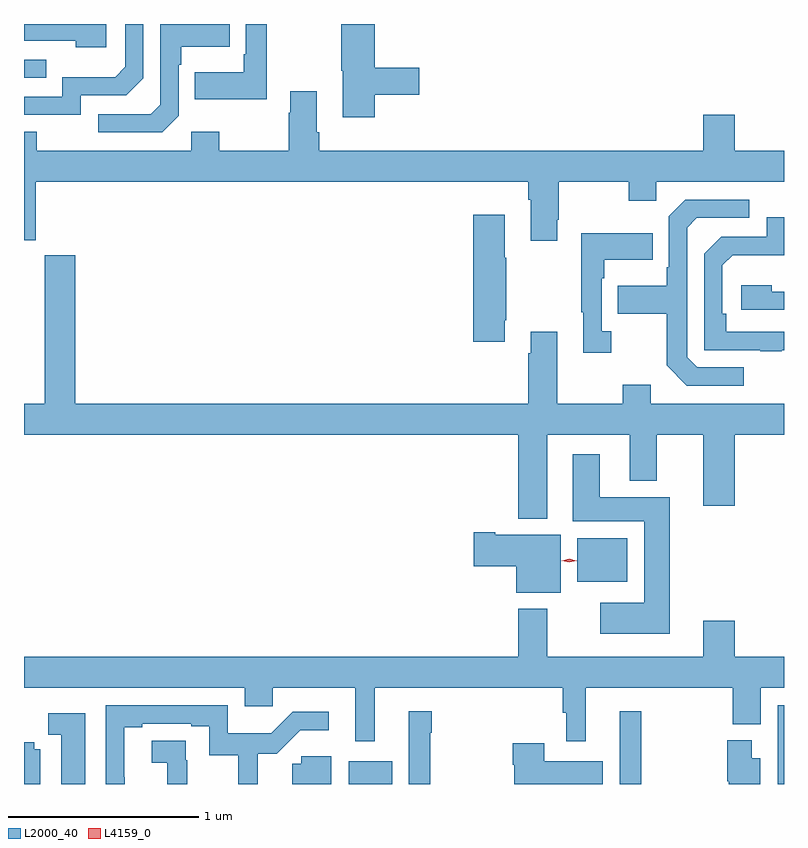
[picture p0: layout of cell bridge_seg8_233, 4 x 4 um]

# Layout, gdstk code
import gdstk
lib = gdstk.Library(unit=1e-6, precision=1e-09)
def R(c, l, rs):  # rectangles x0, y0, x1, y1
    for r in rs: c.add(gdstk.rectangle(r[:2], r[2:], *l))
def P(c, l, *ps):  # polygons
    for p in ps: c.add(gdstk.Polygon(p, *l))
L2000_40 = (2000, 40)
L4159_0 = (4159, 0)

bridge_seg8_233 = lib.new_cell('bridge_seg8_233')
R(bridge_seg8_233, L2000_40, [(199.106,1146.63,199.333,1146.751), (200.531,1146.63,200.645,1147.012), (201.363,1146.63,201.396,1147.044), (200.309,1147.694,200.572,1147.924), (197.396,1150.347,197.513,1150.443)])
P(bridge_seg8_233, L2000_40, [(199.241,1150.258),(199.477,1150.258),(199.477,1150.4),(199.241,1150.4),(199.241,1150.63),(199.066,1150.63),(199.066,1150.383),(199.073,1150.383),(199.073,1150.14),(199.241,1150.14)],
  [(198.673,1150.63),(198.564,1150.63),(198.564,1150.471),(198.552,1150.471),(198.552,1150.375),(198.295,1150.375),(198.295,1150.235),(198.673,1150.235)],
  [(198.21,1150.146),(198.21,1150.415),(198.223,1150.415),(198.223,1150.511),(198.479,1150.511),(198.479,1150.63),(198.114,1150.63),(198.114,1150.206),(198.063,1150.155),(197.787,1150.155),(197.787,1150.059),(198.123,1150.059)],
  [(197.694,1150.254),(197.934,1150.254),(198.024,1150.344),(198.024,1150.63),(197.928,1150.63),(197.928,1150.404),(197.875,1150.351),(197.598,1150.351),(197.598,1150.248),(197.396,1150.248),(197.396,1150.152),(197.694,1150.152)],
  [(197.83,1150.63),(197.396,1150.63),(197.396,1150.542),(197.669,1150.542),(197.669,1150.508),(197.83,1150.508)],
  [(200.203,1149.601),(200.211,1149.601),(200.211,1149.8),(200.578,1149.8),(200.578,1149.701),(200.724,1149.701),(200.724,1149.8),(201.396,1149.8),(201.396,1149.964),(201.136,1149.964),(201.136,1150.153),(200.972,1150.153),(200.972,1149.964),(198.95,1149.964),(198.95,1150.06),(198.937,1150.06),(198.937,1150.276),(198.797,1150.276),(198.797,1150.163),(198.79,1150.163),(198.79,1149.964),(198.423,1149.964),(198.423,1150.063),(198.276,1150.063),(198.276,1149.964),(197.463,1149.964),(197.463,1150.063),(197.396,1150.063),(197.396,1149.491),(197.458,1149.491),(197.458,1149.8),(200.051,1149.8),(200.051,1149.704),(200.063,1149.704),(200.063,1149.489),(200.203,1149.489)],
  [(201.184,1148.823),(200.94,1148.823),(200.886,1148.877),(200.886,1149.558),(200.937,1149.609),(201.214,1149.609),(201.214,1149.705),(200.877,1149.705),(200.79,1149.618),(200.79,1149.349),(200.778,1149.349),(200.778,1149.253),(200.521,1149.253),(200.521,1149.106),(200.778,1149.106),(200.778,1148.833),(200.883,1148.727),(201.184,1148.727)],
  [(199.927,1149.07),(199.935,1149.07),(199.935,1149.401),(199.927,1149.401),(199.927,1149.625),(199.76,1149.625),(199.76,1148.958),(199.927,1148.958)],
  [(201.383,1148.913),(201.396,1148.913),(201.396,1149.009),(201.092,1149.009),(201.092,1149.106),(201.072,1149.106),(201.072,1149.36),(201.125,1149.413),(201.396,1149.413),(201.396,1149.612),(201.306,1149.612),(201.306,1149.51),(201.066,1149.51),(200.976,1149.42),(200.976,1148.913),(201.271,1148.913),(201.271,1148.908),(201.383,1148.908)],
  [(200.488,1149.014),(200.436,1149.014),(200.436,1149.293),(200.449,1149.293),(200.449,1149.389),(200.705,1149.389),(200.705,1149.529),(200.328,1149.529),(200.328,1149.113),(200.339,1149.113),(200.339,1148.901),(200.488,1148.901)],
  [(200.149,1148.468),(200.585,1148.468),(200.585,1148.225),(200.725,1148.225),(200.725,1148.468),(200.972,1148.468),(200.972,1148.094),(201.136,1148.094),(201.136,1148.468),(201.396,1148.468),(201.396,1148.632),(200.695,1148.632),(200.695,1148.731),(200.548,1148.731),(200.548,1148.632),(200.203,1148.632),(200.203,1149.01),(200.063,1149.01),(200.063,1148.897),(200.051,1148.897),(200.051,1148.632),(197.666,1148.632),(197.666,1149.412),(197.506,1149.412),(197.506,1148.632),(197.396,1148.632),(197.396,1148.468),(199.997,1148.468),(199.997,1148.027),(200.149,1148.027)],
  [(201.396,1149.222),(201.332,1149.222),(201.332,1149.256),(201.171,1149.256),(201.171,1149.126),(201.396,1149.126)],
  [(200.795,1148.14),(200.425,1148.14),(200.425,1148.365),(200.285,1148.365),(200.285,1148.012),(200.66,1148.012),(200.66,1147.585),(200.43,1147.585),(200.43,1147.421),(200.795,1147.421)],
  [(200.221,1147.942),(199.876,1147.942),(199.876,1147.955),(199.764,1147.955),(199.764,1147.777),(199.988,1147.777),(199.988,1147.637),(200.221,1147.637)],
  [(199.243,1147.136),(200.232,1147.136),(200.232,1147.004),(200.249,1147.004),(200.249,1146.855),(200.353,1146.855),(200.353,1147.136),(201.127,1147.136),(201.127,1146.944),(201.274,1146.944),(201.274,1147.136),(201.396,1147.136),(201.396,1147.3),(201.136,1147.3),(201.136,1147.489),(200.972,1147.489),(200.972,1147.3),(200.149,1147.3),(200.149,1147.552),(199.997,1147.552),(199.997,1147.3),(197.396,1147.3),(197.396,1147.136),(198.557,1147.136),(198.557,1147.038),(198.704,1147.038),(198.704,1147.136),(199.139,1147.136),(199.139,1146.855),(199.243,1146.855)],
  [(197.925,1146.665),(197.923,1146.665),(197.923,1146.928),(198.019,1146.928),(198.019,1146.948),(198.275,1146.948),(198.275,1146.934),(198.372,1146.934),(198.372,1146.781),(198.523,1146.781),(198.523,1146.63),(198.626,1146.63),(198.626,1146.789),(198.725,1146.789),(198.851,1146.914),(199,1146.914),(199,1147.011),(198.81,1147.011),(198.697,1146.898),(198.468,1146.898),(198.468,1147.044),(197.826,1147.044),(197.826,1146.63),(197.925,1146.63)],
  [(199.535,1146.899),(199.543,1146.899),(199.543,1147.012),(199.421,1147.012),(199.421,1146.63),(199.535,1146.63)],
  [(197.719,1147.003),(197.523,1147.003),(197.523,1146.888),(197.591,1146.888),(197.591,1146.63),(197.719,1146.63)],
  [(201.271,1146.766),(201.226,1146.766),(201.226,1146.859),(201.097,1146.859),(201.097,1146.645),(201.106,1146.645),(201.106,1146.63),(201.271,1146.63)],
  [(198.254,1146.755),(198.248,1146.755),(198.248,1146.857),(198.069,1146.857),(198.069,1146.742),(198.151,1146.742),(198.151,1146.63),(198.254,1146.63)],
  [(197.482,1146.814),(197.45,1146.814),(197.45,1146.851),(197.396,1146.851),(197.396,1146.63),(197.482,1146.63)],
  [(200.443,1146.751),(200.134,1146.751),(200.134,1146.844),(199.969,1146.844),(199.969,1146.731),(199.976,1146.731),(199.976,1146.63),(200.443,1146.63)],
  [(199.012,1146.777),(198.855,1146.777),(198.855,1146.736),(198.809,1146.736),(198.809,1146.63),(199.012,1146.63)])
P(bridge_seg8_233, L4159_0, [(200.265,1147.796),(200.227,1147.806),(200.227,1147.806),(200.227,1147.806),(200.265,1147.816),(200.304,1147.806),(200.304,1147.806),(200.304,1147.806)])

lib.write_gds('bridge_seg8_233.gds')
